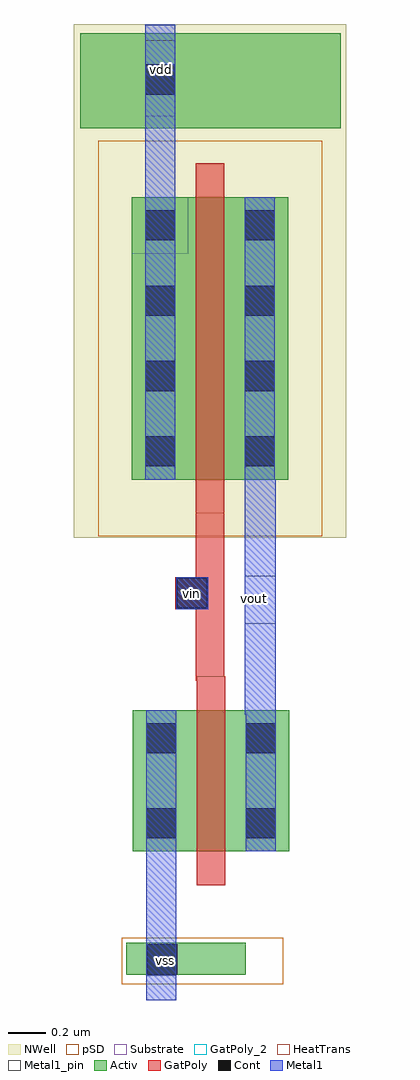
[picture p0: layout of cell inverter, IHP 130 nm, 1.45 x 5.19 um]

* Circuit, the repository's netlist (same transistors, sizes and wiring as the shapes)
* Extracted by KLayout with SG13G2 LVS runset on : 11/03/2026 21:57

.SUBCKT inverter
M$1 \$1 \$3 \$2 \$1 sg13_lv_nmos L=0.15u W=0.75u AS=0.255p AD=0.255p PS=2.18u
+ PD=2.18u
M$2 \$4 \$3 \$2 \$4 sg13_lv_pmos L=0.15u W=1.5u AS=0.51p AD=0.51p PS=3.68u
+ PD=3.68u
.ENDS inverter

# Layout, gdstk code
from math import pi, radians
import gdstk
lib = gdstk.Library(unit=1e-6, precision=5e-09)
def R(c, l, rs):  # rectangles x0, y0, x1, y1
    for r in rs: c.add(gdstk.rectangle(r[:2], r[2:], *l))
def A(c, l, x, y, w, h, nx, ny, dx, dy):  # array of equal rectangles
    R(c, l, [(x+i*dx, y+j*dy, x+i*dx+w, y+j*dy+h) for i in range(nx) for j in range(ny)])
def P(c, l, *ps):  # polygons
    for p in ps: c.add(gdstk.Polygon(p, *l))
Activ = (1, 0)
GatPoly = (5, 0)
GatPoly_2 = (5, 2)
Cont = (6, 0)
Metal1 = (8, 0)
Metal1_pin = (8, 2)
pSD = (14, 0)
NWell = (31, 0)
Substrate = (40, 0)
HeatTrans = (51, 0)

nmos_1 = lib.new_cell('nmos$1')
R(nmos_1, Activ, [(0,0,0.3,0.3), (0,0,0.83,0.75), (0.53,0,0.83,0.3)])
R(nmos_1, GatPoly, [(0.34,-0.18,0.49,0.93)])
R(nmos_1, GatPoly_2, [(0.34,-0.18,0.49,0.93)])
R(nmos_1, Cont, [(0.07,0.07,0.23,0.23), (0.6,0.07,0.76,0.23), (0.07,0.52,0.23,0.68), (0.6,0.52,0.76,0.68)])
R(nmos_1, Metal1, [(0.07,0,0.23,0.75), (0.6,0,0.76,0.75)])
R(nmos_1, Metal1_pin, [(0.07,0,0.23,0.75), (0.6,0,0.76,0.75)])
R(nmos_1, HeatTrans, [(0.34,-0.18,0.49,0.93)])
nmos_1.add(gdstk.Label('nmos', (0.415,0.375), layer=63, texttype=0))
nmos_1.add(gdstk.Label('nmos', (0.415,0.375), layer=51, texttype=0))

pmos_1 = lib.new_cell('pmos$1')
R(pmos_1, Activ, [(0,0,0.3,0.3), (0,0,0.83,1.5), (0.53,0,0.83,0.3)])
R(pmos_1, GatPoly, [(0.34,-0.18,0.49,1.68), (0.34,-0.18,0.49,1.68)])
A(pmos_1, Cont, 0.07, 0.07, 0.16, 0.16, 1, 4, 0, 0.4)
A(pmos_1, Cont, 0.6, 0.07, 0.16, 0.16, 1, 4, 0, 0.4)
R(pmos_1, Metal1, [(0.07,0,0.23,1.5), (0.07,0,0.23,1.5), (0.6,0,0.76,1.5), (0.6,0,0.76,1.5)])
R(pmos_1, pSD, [(-0.18,-0.3,1.01,1.8)])
R(pmos_1, NWell, [(-0.31,-0.31,1.14,1.81)])
R(pmos_1, Substrate, [(0.53,0,0.83,0.3)])
R(pmos_1, HeatTrans, [(0.34,-0.18,0.49,1.68)])
pmos_1.add(gdstk.Label('pmos', (0.415,0.75), layer=63, texttype=0))
pmos_1.add(gdstk.Label('pmos', (0.415,0.75), layer=51, texttype=0))

inverter = lib.new_cell('inverter')
R(inverter, Activ, [(-1.19,-1.615,-0.555,-1.445), (-1.435,2.88,-0.05,3.385)])
R(inverter, GatPoly, [(-0.82,-0.055,-0.67,0.835), (-0.93,0.325,-0.76,0.495)])
R(inverter, Cont, [(-1.08,-1.615,-0.92,-1.455), (-0.92,0.33,-0.76,0.49), (-1.09,3.06,-0.93,3.22)])
R(inverter, Metal1, [(-1.085,-1.75,-0.925,-0.96), (-0.56,-0.235,-0.395,1.015), (-0.925,0.325,-0.755,0.495), (-1.09,2.515,-0.93,3.43)])
P(inverter, Metal1, [(-1.085,-0.96),(-1.085,-0.96),(-0.925,-0.96),(-0.925,-0.96)])
R(inverter, Metal1_pin, [(-1.085,-1.62,-0.925,-1.445), (-0.56,0.25,-0.395,0.505), (-1.09,2.945,-0.93,3.35)])
R(inverter, pSD, [(-1.215,-1.665,-0.355,-1.42)])
R(inverter, NWell, [(-1.47,2.825,-0.02,3.435)])
inverter.add(gdstk.Reference(nmos_1, (-0.325,-0.21), rotation=pi))
inverter.add(gdstk.Reference(pmos_1, (-0.33,2.515), rotation=pi))
inverter.add(gdstk.Label('vin', (-0.845,0.41), layer=8, texttype=2))
inverter.add(gdstk.Label('vout', (-0.51,0.385), layer=8, texttype=2))
inverter.add(gdstk.Label('vss', (-0.98,-1.54), layer=8, texttype=2))
inverter.add(gdstk.Label('vdd', (-1.005,3.195), layer=8, texttype=2))

lib.write_gds('inverter.gds')
